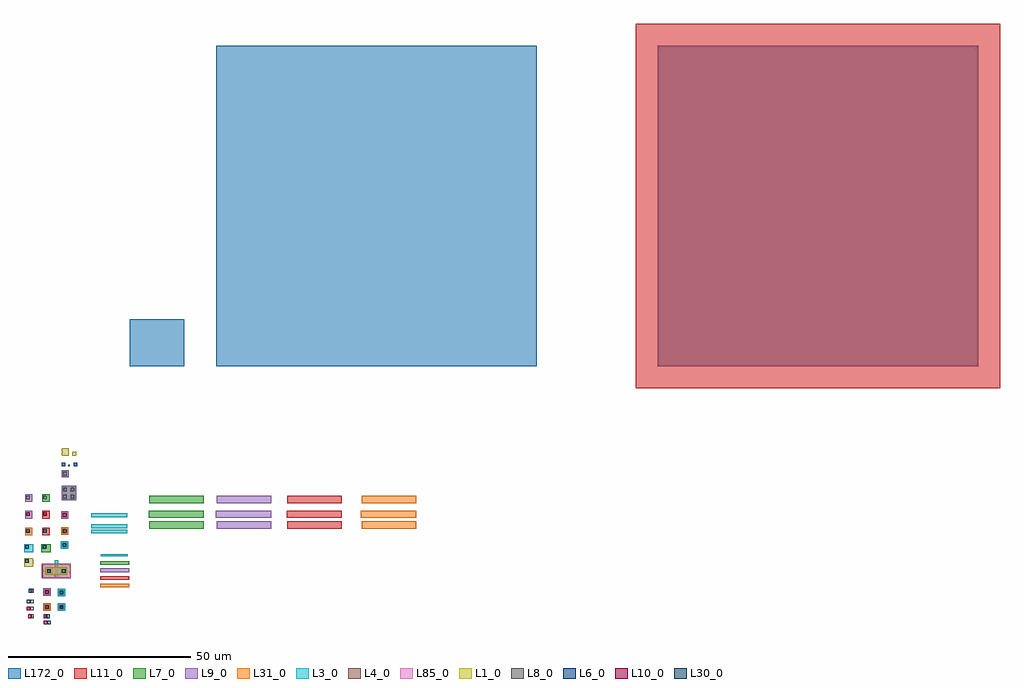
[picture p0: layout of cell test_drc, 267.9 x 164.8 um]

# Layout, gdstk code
import gdstk
lib = gdstk.Library(unit=1e-6, precision=5e-10)
def R(c, l, rs):  # rectangles x0, y0, x1, y1
    for r in rs: c.add(gdstk.rectangle(r[:2], r[2:], *l))
L1_0 = (1, 0)
L3_0 = (3, 0)
L4_0 = (4, 0)
L6_0 = (6, 0)
L7_0 = (7, 0)
L8_0 = (8, 0)
L9_0 = (9, 0)
L10_0 = (10, 0)
L11_0 = (11, 0)
L30_0 = (30, 0)
L31_0 = (31, 0)
L85_0 = (85, 0)
L172_0 = (172, 0)

nmos4_cdns_6 = lib.new_cell('nmos4_CDNS_6')
R(nmos4_cdns_6, L1_0, [(1,1,7,3)])
R(nmos4_cdns_6, L3_0, [(3.5,0,4.5,5), (3.6,3.5,4.4,3.9)])
R(nmos4_cdns_6, L4_0, [(0,0,8,4)])
R(nmos4_cdns_6, L6_0, [(1.5,1.5,2.5,2.5), (5.5,1.5,6.5,2.5), (5.5,1.5,6.5,2.5)])
R(nmos4_cdns_6, L7_0, [(1,1,3,3), (5,1,7,3), (1.3,1.3,2.7,2.7), (5.3,1.3,6.7,2.7)])
R(nmos4_cdns_6, L85_0, [(0.2,0.2,7.8,3.8)])

m2_m1_cdns_1 = lib.new_cell('M2_M1_CDNS_1')
R(m2_m1_cdns_1, L7_0, [(-1,-1,1,1)])
R(m2_m1_cdns_1, L8_0, [(-0.5,-0.5,0.5,0.5)])
R(m2_m1_cdns_1, L9_0, [(-1,-1,1,1)])

m2_m1_cdns_2 = lib.new_cell('M2_M1_CDNS_2')
R(m2_m1_cdns_2, L7_0, [(-2,-2,2,2)])
R(m2_m1_cdns_2, L8_0, [(-1.5,-1.5,-0.5,-0.5), (0.5,-1.5,1.5,-0.5), (-1.5,0.5,-0.5,1.5), (0.5,0.5,1.5,1.5)])
R(m2_m1_cdns_2, L9_0, [(-2,-2,2,2)])

m3_m2_cdns_3 = lib.new_cell('M3_M2_CDNS_3')
R(m3_m2_cdns_3, L9_0, [(-1,-1,1,1)])
R(m3_m2_cdns_3, L10_0, [(-0.5,-0.5,0.5,0.5)])
R(m3_m2_cdns_3, L11_0, [(-1,-1,1,1)])

m4_m3_cdns_4 = lib.new_cell('M4_M3_CDNS_4')
R(m4_m3_cdns_4, L11_0, [(-1,-1,1,1)])
R(m4_m3_cdns_4, L30_0, [(-0.5,-0.5,0.5,0.5)])
R(m4_m3_cdns_4, L31_0, [(-1,-1,1,1)])

m1_po_cdns_5 = lib.new_cell('M1_PO_CDNS_5')
R(m1_po_cdns_5, L3_0, [(-1,-1,1,1)])
R(m1_po_cdns_5, L6_0, [(-0.5,-0.5,0.5,0.5)])
R(m1_po_cdns_5, L7_0, [(-1,-1,1,1)])

test_drc = lib.new_cell('test_drc')
R(test_drc, L1_0, [(-19.3,2.1,-16.7,4.4), (-9,32.6,-7,34.6), (-6,32.6,-5,33.6)])
R(test_drc, L3_0, [(-19.3,6,-16.7,8.3)])
R(test_drc, L6_0, [(-18.6,-8,-17.6,-7), (-18,-5,-17,-4), (-19,3.1,-18,4.1), (-19,7,-18,8), (-14.2,7,-13.2,8), (-9,29.6,-8,30.6), (-7.2,29.6,-6.7,30.1), (-5.7,29.6,-4.7,30.6)])
R(test_drc, L7_0, [(-14.5,6,-11.9,8.3), (-14.3,19.9,-12.3,22)])
R(test_drc, L8_0, [(-17.6,-12,-16.6,-11), (-17.6,-9.9,-16.6,-8.9), (-17.6,-8,-16.6,-7), (-17.6,-5,-16.6,-4), (-18.7,20.6,-17.7,21.6), (-14,20.6,-13,21.6)])
R(test_drc, L9_0, [(-19,15.3,-17,17.4), (-19,19.9,-17,22)])
R(test_drc, L10_0, [(-13.9,-13.7,-12.9,-12.7), (-18.2,-12,-17.2,-11), (-13.9,-12,-12.9,-11), (-18.6,-9.9,-17.6,-8.9), (-18.7,16,-17.7,17), (-14,16,-13,17)])
R(test_drc, L11_0, [(-14.3,10.7,-12.3,12.8), (-14.3,15.3,-12.3,17.4), (148.6,51.1,248.6,151.1)])
R(test_drc, L30_0, [(-12.9,-13.7,-11.9,-12.7), (-13.3,-12,-12.3,-11), (-18.7,11.4,-17.7,12.4), (-14,11.4,-13,12.4)])
R(test_drc, L31_0, [(-19,10.7,-17,12.8)])
R(test_drc, L172_0, [(9.7,57.1,24.7,70), (33.5,57.1,121.5,145.1), (154.6,57.1,242.6,145.1)])
test_drc.add(gdstk.FlexPath([(15.1,20.5),(30,20.5)], 2, ends="flush", simple_path=True, layer=7, datatype=0))  # L7_0
test_drc.add(gdstk.FlexPath([(15.1,13.5),(30,13.5)], 2, ends="flush", simple_path=True, layer=7, datatype=0))  # L7_0
test_drc.add(gdstk.FlexPath([(14.9,16.5),(30,16.5)], 2, ends="flush", simple_path=True, layer=7, datatype=0))  # L7_0
test_drc.add(gdstk.FlexPath([(1.6,3.1),(9.6,3.1)], 1, ends="flush", simple_path=True, layer=7, datatype=0))  # L7_0
test_drc.add(gdstk.FlexPath([(33.6,20.5),(48.5,20.5)], 2, ends="flush", simple_path=True, layer=9, datatype=0))  # L9_0
test_drc.add(gdstk.FlexPath([(33.6,13.5),(48.5,13.5)], 2, ends="flush", simple_path=True, layer=9, datatype=0))  # L9_0
test_drc.add(gdstk.FlexPath([(33.4,16.5),(48.5,16.5)], 2, ends="flush", simple_path=True, layer=9, datatype=0))  # L9_0
test_drc.add(gdstk.FlexPath([(1.6,1.1),(9.6,1.1)], 1, ends="flush", simple_path=True, layer=9, datatype=0))  # L9_0
test_drc.add(gdstk.FlexPath([(53,13.5),(67.9,13.5)], 2, ends="flush", simple_path=True, layer=11, datatype=0))  # L11_0
test_drc.add(gdstk.FlexPath([(53,20.5),(67.9,20.5)], 2, ends="flush", simple_path=True, layer=11, datatype=0))  # L11_0
test_drc.add(gdstk.FlexPath([(52.8,16.5),(67.9,16.5)], 2, ends="flush", simple_path=True, layer=11, datatype=0))  # L11_0
test_drc.add(gdstk.FlexPath([(1.6,-1),(9.6,-1)], 1, ends="flush", simple_path=True, layer=11, datatype=0))  # L11_0
test_drc.add(gdstk.FlexPath([(73.4,13.5),(88.3,13.5)], 2, ends="flush", simple_path=True, layer=31, datatype=0))  # L31_0
test_drc.add(gdstk.FlexPath([(73.4,20.5),(88.3,20.5)], 2, ends="flush", simple_path=True, layer=31, datatype=0))  # L31_0
test_drc.add(gdstk.FlexPath([(73.2,16.5),(88.3,16.5)], 2, ends="flush", simple_path=True, layer=31, datatype=0))  # L31_0
test_drc.add(gdstk.FlexPath([(1.6,-3.1),(9.6,-3.1)], 1, ends="flush", simple_path=True, layer=31, datatype=0))  # L31_0
test_drc.add(gdstk.FlexPath([(-0.8,11.7),(9,11.7)], 1, ends="flush", simple_path=True, layer=3, datatype=0))  # L3_0
test_drc.add(gdstk.FlexPath([(-0.8,16.2),(9,16.2)], 1, ends="flush", simple_path=True, layer=3, datatype=0))  # L3_0
test_drc.add(gdstk.FlexPath([(-0.8,13.2),(9,13.2)], 1, ends="flush", simple_path=True, layer=3, datatype=0))  # L3_0
test_drc.add(gdstk.FlexPath([(1.7,5.2),(9.2,5.2)], 0.5, ends="flush", simple_path=True, layer=3, datatype=0))  # L3_0
test_drc.add(gdstk.Reference(nmos4_cdns_6, (-14.4,-1.1)))
test_drc.add(gdstk.Reference(m2_m1_cdns_1, (-9,-9)))
test_drc.add(gdstk.Reference(m2_m1_cdns_1, (-9,-9)))
test_drc.add(gdstk.Reference(m2_m1_cdns_1, (-9,-5)))
test_drc.add(gdstk.Reference(m2_m1_cdns_1, (-13,-4.9)))
test_drc.add(gdstk.Reference(m2_m1_cdns_1, (-8,27.6)))
test_drc.add(gdstk.Reference(m2_m1_cdns_2, (-7,22.3)))
test_drc.add(gdstk.Reference(m3_m2_cdns_3, (-9,-9)))
test_drc.add(gdstk.Reference(m3_m2_cdns_3, (-9,-9)))
test_drc.add(gdstk.Reference(m3_m2_cdns_3, (-13,-9)))
test_drc.add(gdstk.Reference(m3_m2_cdns_3, (-13,-4.9)))
test_drc.add(gdstk.Reference(m3_m2_cdns_3, (-8.1,16.3)))
test_drc.add(gdstk.Reference(m4_m3_cdns_4, (-9,-9)))
test_drc.add(gdstk.Reference(m4_m3_cdns_4, (-13,-9)))
test_drc.add(gdstk.Reference(m4_m3_cdns_4, (-8.1,11.9)))
test_drc.add(gdstk.Reference(m1_po_cdns_5, (-9,-9)))
test_drc.add(gdstk.Reference(m1_po_cdns_5, (-9,-5)))
test_drc.add(gdstk.Reference(m1_po_cdns_5, (-8.2,8)))

lib.write_gds('test_drc.gds')
